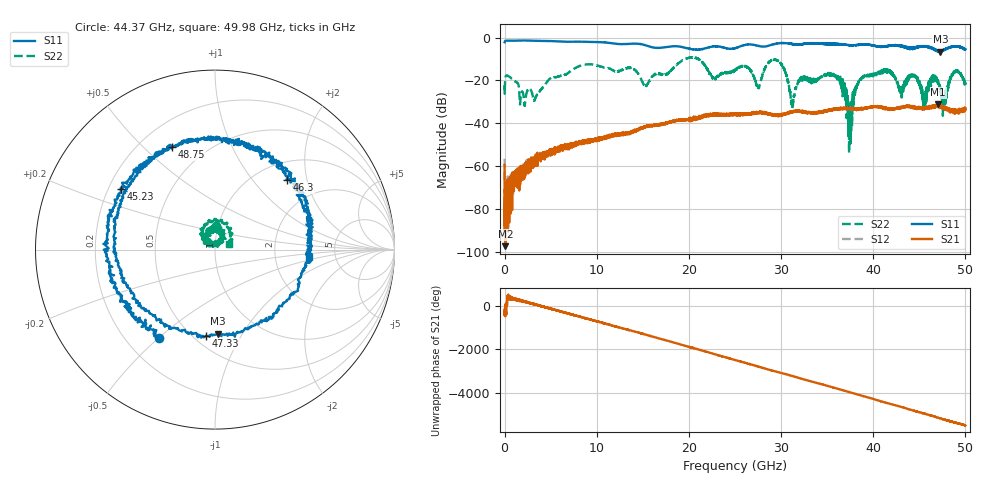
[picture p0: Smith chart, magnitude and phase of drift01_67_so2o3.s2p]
!Created with skrf (http://scikit-rf.org).
# Hz S RI R 50.0
!freq ReS11 ImS11 ReS21 ImS21 ReS12 ImS12 ReS22 ImS22
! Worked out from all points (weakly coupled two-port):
!   10001 points, 300 kHz to 50 GHz, reference 50 ohm
!   highest |S21| = -31.20 dB at 47.04 GHz (marker M1); lowest = -97.4 dB at 90.3 MHz (marker M2)
!   lowest |S11| = -6.6 dB at 47.28 GHz (marker M3), VSWR 2.76, Z = 32.9 - j39.4 ohm
!   |S11| at or under -10 dB: nowhere
!   |S22| runs from -53.9 to -9.2 dB; largest |S21 - S12| = 0.0042
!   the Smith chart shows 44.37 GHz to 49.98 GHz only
!   S11 on the Smith chart (normalised r, x): 44.37 GHz: 0.33, -0.50; 45.23 GHz: 0.25, +0.28; 46.3 GHz: 1.36, +1.53; 47.33 GHz: 0.58, -0.72; 48.75 GHz: 0.33, +0.61; 49.98 GHz: 3.18, -0.34
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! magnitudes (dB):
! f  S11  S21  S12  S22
! 300 kHz  -2.2  -59.6  -56.6  -22.3
! 90.3 MHz  -1.5  -97.4  -75.8  -18.6
! 3.29 GHz  -1.5  -57.2  -57.6  -28.8
! 8.335 GHz  -1.9  -49.8  -49.3  -12.9
! 16.67 GHz  -4.8  -40.8  -40.6  -16.7
! 25 GHz  -5.0  -35.6  -36.1  -15.4
! 29.58 GHz  -2.8  -36.4  -36.4  -10.7
! 31.23 GHz  -3.0  -34.8  -34.7  -32.3
! 33.34 GHz  -2.6  -35.1  -35.2  -19.7
! 36.08 GHz  -3.1  -33.3  -33.6  -18.3
! 37.48 GHz  -3.5  -32.9  -33.2  -33.5
! 38.65 GHz  -3.4  -33.1  -33.3  -19.5
! 41.67 GHz  -3.9  -33.4  -33.1  -15.7
! 44.37 GHz  -4.7  -32.6  -32.6  -17.6
! 45.23 GHz  -4.1  -32.8  -32.9  -25.0
! 46.3 GHz  -5.0  -33.1  -32.2  -18.8
! 47.04 GHz  -6.2  -31.2  -31.6  -20.3
! 47.28 GHz  -6.6  -32.0  -31.9  -24.0
! 47.33 GHz  -6.3  -31.8  -32.4  -24.0
! 48.75 GHz  -4.2  -34.2  -33.9  -16.5
! 49.98 GHz  -5.6  -33.7  -33.7  -21.6
! 50 GHz  -5.5  -33.1  -33.9  -21.4
